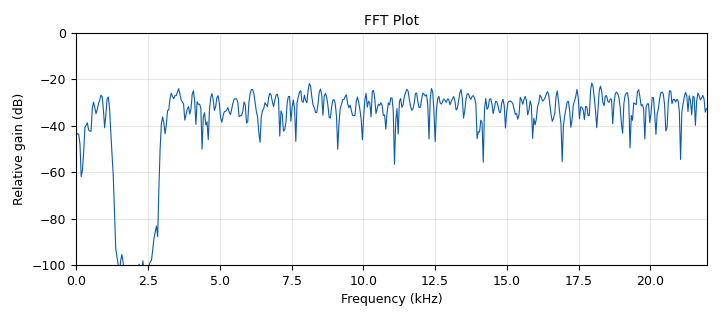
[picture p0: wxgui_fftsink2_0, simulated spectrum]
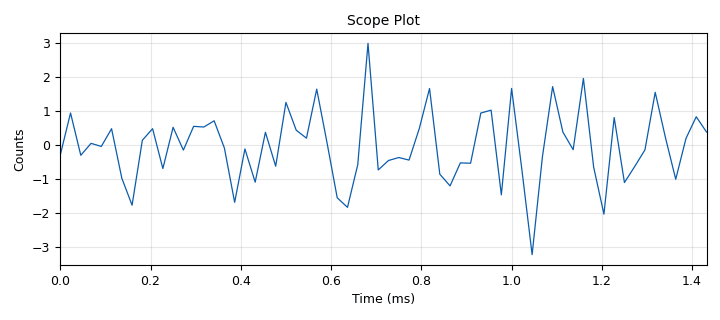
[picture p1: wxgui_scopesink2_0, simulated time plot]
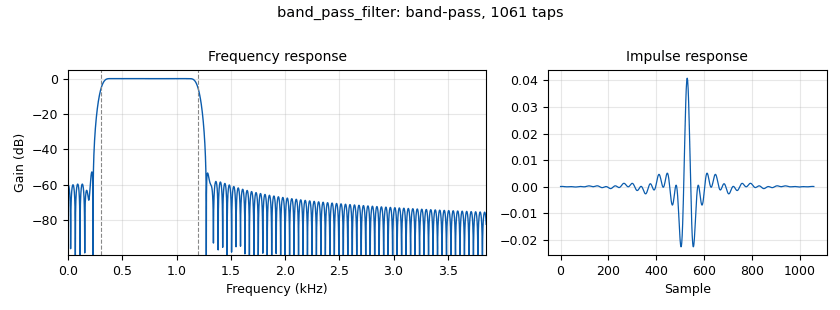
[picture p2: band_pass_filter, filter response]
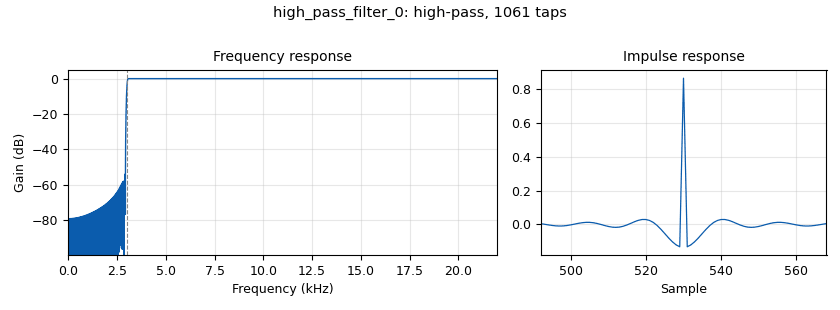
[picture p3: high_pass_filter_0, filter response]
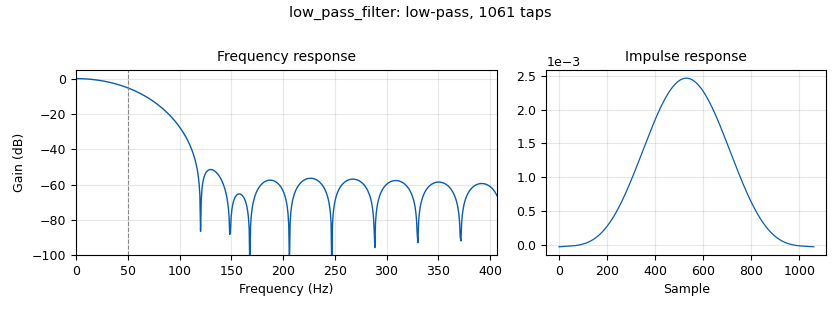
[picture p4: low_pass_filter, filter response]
<?xml version='1.0' encoding='utf-8'?>
<?grc format='1' created='3.7.9'?>
<flow_graph>
<block>
<key>options</key>
<param><key>id</key><value>top_block</value></param>
<param><key>category</key><value>Custom</value></param>
<param><key>generate_options</key><value>wx_gui</value></param>
</block>
<block>
<key>variable_slider</key>
<param><key>id</key><value>aigues</value></param>
<param><key>converver</key><value>float_converter</value></param>
<param><key>value</key><value>3000</value></param>
<param><key>label</key><value>aigues</value></param>
<param><key>max</key><value>20000</value></param>
<param><key>min</key><value>2000</value></param>
<param><key>num_steps</key><value>100</value></param>
<param><key>style</key><value>wx.SL_HORIZONTAL</value></param>
</block>
<block>
<key>variable_slider</key>
<param><key>id</key><value>basse</value></param>
<param><key>converver</key><value>float_converter</value></param>
<param><key>value</key><value>50</value></param>
<param><key>label</key><value>basse</value></param>
<param><key>max</key><value>200</value></param>
<param><key>min</key><value>20</value></param>
<param><key>num_steps</key><value>100</value></param>
<param><key>style</key><value>wx.SL_HORIZONTAL</value></param>
</block>
<block>
<key>variable_slider</key>
<param><key>id</key><value>medium</value></param>
<param><key>converver</key><value>float_converter</value></param>
<param><key>value</key><value>300</value></param>
<param><key>label</key><value>medium</value></param>
<param><key>max</key><value>1000</value></param>
<param><key>min</key><value>200</value></param>
<param><key>num_steps</key><value>100</value></param>
<param><key>style</key><value>wx.SL_HORIZONTAL</value></param>
</block>
<block>
<key>variable_slider</key>
<param><key>id</key><value>medium_1</value></param>
<param><key>converver</key><value>float_converter</value></param>
<param><key>value</key><value>1200</value></param>
<param><key>label</key><value>medium_1</value></param>
<param><key>max</key><value>2000</value></param>
<param><key>min</key><value>1000</value></param>
<param><key>num_steps</key><value>100</value></param>
<param><key>style</key><value>wx.SL_HORIZONTAL</value></param>
</block>
<block>
<key>variable</key>
<param><key>id</key><value>samp_rate</value></param>
<param><key>value</key><value>44000</value></param>
</block>
<block>
<key>analog_noise_source_x</key>
<param><key>id</key><value>analog_noise_source_x_0</value></param>
<param><key>amp</key><value>1</value></param>
<param><key>noise_type</key><value>analog.GR_GAUSSIAN</value></param>
<param><key>type</key><value>float</value></param>
<param><key>seed</key><value>0</value></param>
</block>
<block>
<key>band_pass_filter</key>
<param><key>id</key><value>band_pass_filter</value></param>
<param><key>type</key><value>interp_fir_filter_fff</value></param>
<param><key>gain</key><value>1</value></param>
<param><key>high_cutoff_freq</key><value>medium_1</value></param>
<param><key>interp</key><value>1</value></param>
<param><key>low_cutoff_freq</key><value>medium</value></param>
<param><key>samp_rate</key><value>samp_rate</value></param>
<param><key>width</key><value>100</value></param>
<param><key>win</key><value>firdes.WIN_HAMMING</value></param>
</block>
<block>
<key>blocks_add_xx</key>
<param><key>id</key><value>blocks_add_xx_0</value></param>
<param><key>type</key><value>float</value></param>
<param><key>num_inputs</key><value>3</value></param>
</block>
<block>
<key>blocks_throttle</key>
<param><key>id</key><value>blocks_throttle_0</value></param>
<param><key>samples_per_second</key><value>samp_rate</value></param>
<param><key>type</key><value>float</value></param>
</block>
<block>
<key>high_pass_filter</key>
<param><key>id</key><value>high_pass_filter_0</value></param>
<param><key>cutoff_freq</key><value>aigues</value></param>
<param><key>type</key><value>interp_fir_filter_fff</value></param>
<param><key>gain</key><value>1</value></param>
<param><key>interp</key><value>1</value></param>
<param><key>samp_rate</key><value>samp_rate</value></param>
<param><key>width</key><value>100</value></param>
<param><key>win</key><value>firdes.WIN_HAMMING</value></param>
</block>
<block>
<key>low_pass_filter</key>
<param><key>id</key><value>low_pass_filter</value></param>
<param><key>cutoff_freq</key><value>basse</value></param>
<param><key>type</key><value>interp_fir_filter_fff</value></param>
<param><key>gain</key><value>1</value></param>
<param><key>interp</key><value>1</value></param>
<param><key>samp_rate</key><value>samp_rate</value></param>
<param><key>width</key><value>100</value></param>
<param><key>win</key><value>firdes.WIN_HAMMING</value></param>
</block>
<block>
<key>wxgui_fftsink2</key>
<param><key>id</key><value>wxgui_fftsink2_0</value></param>
<param><key>avg_alpha</key><value>0</value></param>
<param><key>average</key><value>False</value></param>
<param><key>baseband_freq</key><value>0</value></param>
<param><key>fft_size</key><value>1024</value></param>
<param><key>freqvar</key><value>None</value></param>
<param><key>peak_hold</key><value>False</value></param>
<param><key>ref_level</key><value>0</value></param>
<param><key>ref_scale</key><value>2.0</value></param>
<param><key>fft_rate</key><value>15</value></param>
<param><key>samp_rate</key><value>samp_rate</value></param>
<param><key>title</key><value>FFT Plot</value></param>
<param><key>type</key><value>float</value></param>
<param><key>win</key><value>None</value></param>
<param><key>y_divs</key><value>10</value></param>
<param><key>y_per_div</key><value>10</value></param>
</block>
<block>
<key>wxgui_scopesink2</key>
<param><key>id</key><value>wxgui_scopesink2_0</value></param>
<param><key>ac_couple</key><value>False</value></param>
<param><key>num_inputs</key><value>1</value></param>
<param><key>samp_rate</key><value>samp_rate</value></param>
<param><key>t_scale</key><value>0</value></param>
<param><key>title</key><value>Scope Plot</value></param>
<param><key>trig_mode</key><value>wxgui.TRIG_MODE_AUTO</value></param>
<param><key>type</key><value>float</value></param>
<param><key>v_offset</key><value>0</value></param>
<param><key>v_scale</key><value>0</value></param>
<param><key>xy_mode</key><value>False</value></param>
<param><key>y_axis_label</key><value>Counts</value></param>
</block>
<connection><source_block_id>analog_noise_source_x_0</source_block_id><sink_block_id>band_pass_filter</sink_block_id><source_key>0</source_key><sink_key>0</sink_key></connection>
<connection><source_block_id>analog_noise_source_x_0</source_block_id><sink_block_id>high_pass_filter_0</sink_block_id><source_key>0</source_key><sink_key>0</sink_key></connection>
<connection><source_block_id>analog_noise_source_x_0</source_block_id><sink_block_id>low_pass_filter</sink_block_id><source_key>0</source_key><sink_key>0</sink_key></connection>
<connection><source_block_id>band_pass_filter</source_block_id><sink_block_id>blocks_add_xx_0</sink_block_id><source_key>0</source_key><sink_key>1</sink_key></connection>
<connection><source_block_id>blocks_add_xx_0</source_block_id><sink_block_id>blocks_throttle_0</sink_block_id><source_key>0</source_key><sink_key>0</sink_key></connection>
<connection><source_block_id>blocks_throttle_0</source_block_id><sink_block_id>wxgui_fftsink2_0</sink_block_id><source_key>0</source_key><sink_key>0</sink_key></connection>
<connection><source_block_id>blocks_throttle_0</source_block_id><sink_block_id>wxgui_scopesink2_0</sink_block_id><source_key>0</source_key><sink_key>0</sink_key></connection>
<connection><source_block_id>high_pass_filter_0</source_block_id><sink_block_id>blocks_add_xx_0</sink_block_id><source_key>0</source_key><sink_key>2</sink_key></connection>
<connection><source_block_id>low_pass_filter</source_block_id><sink_block_id>blocks_add_xx_0</sink_block_id><source_key>0</source_key><sink_key>0</sink_key></connection>
</flow_graph>
